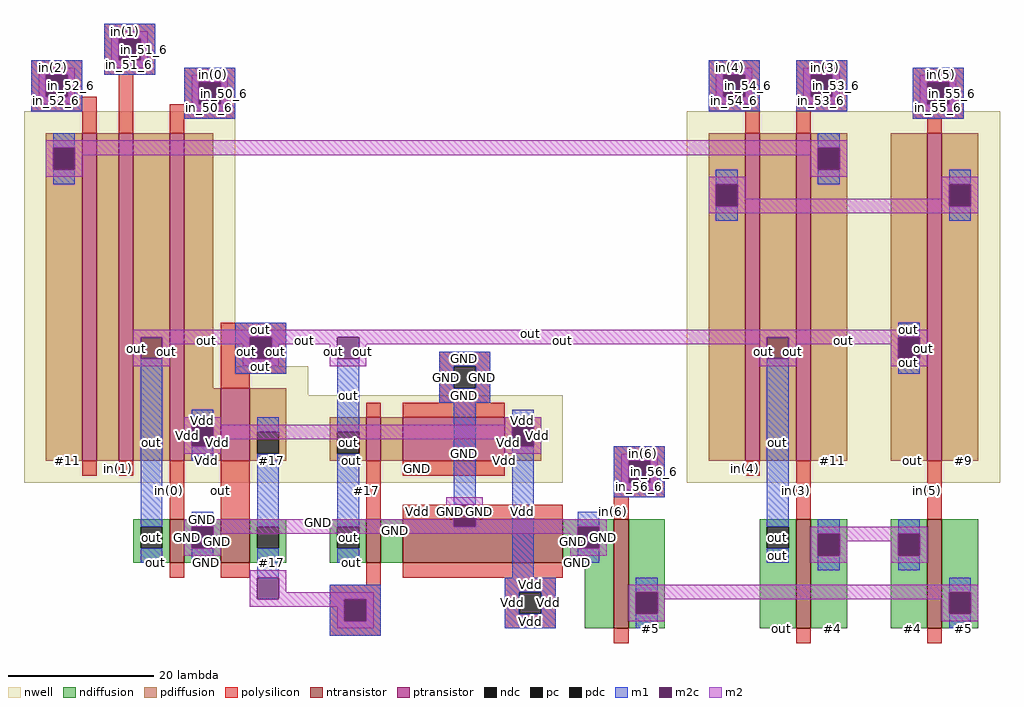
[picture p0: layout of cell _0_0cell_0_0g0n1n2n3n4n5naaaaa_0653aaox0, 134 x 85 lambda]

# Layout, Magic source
magic
tech sky130l
<< nwell >>
rect 5 41 34 76
rect 5 37 44 41
rect 5 25 79 37
rect 96 25 139 76
<< ndiffusion >>
rect 20 19 25 20
rect 20 16 21 19
rect 24 16 25 19
rect 20 14 25 16
rect 27 19 32 20
rect 27 16 28 19
rect 31 16 32 19
rect 27 14 32 16
rect 36 19 41 20
rect 36 16 37 19
rect 40 16 41 19
rect 36 14 41 16
rect 47 19 52 20
rect 47 16 48 19
rect 51 16 52 19
rect 47 14 52 16
rect 54 14 57 20
rect 79 19 86 20
rect 79 16 81 19
rect 84 16 86 19
rect 79 14 86 16
rect 82 5 86 14
rect 88 10 93 20
rect 88 7 89 10
rect 92 7 93 10
rect 88 5 93 7
rect 106 19 111 20
rect 106 16 107 19
rect 110 16 111 19
rect 106 5 111 16
rect 113 18 118 20
rect 113 15 114 18
rect 117 15 118 18
rect 113 5 118 15
rect 124 18 129 20
rect 124 15 125 18
rect 128 15 129 18
rect 124 5 129 15
rect 131 10 136 20
rect 131 7 132 10
rect 135 7 136 10
rect 131 5 136 7
<< ndc >>
rect 21 16 24 19
rect 28 16 31 19
rect 37 16 40 19
rect 48 16 51 19
rect 81 16 84 19
rect 89 7 92 10
rect 107 16 110 19
rect 114 15 117 18
rect 125 15 128 18
rect 132 7 135 10
<< ntransistor >>
rect 25 14 27 20
rect 32 14 36 20
rect 52 14 54 20
rect 57 14 79 20
rect 86 5 88 20
rect 111 5 113 20
rect 129 5 131 20
<< pdiffusion >>
rect 8 71 13 73
rect 8 68 9 71
rect 12 68 13 71
rect 8 28 13 68
rect 15 28 18 73
rect 20 28 25 73
rect 27 38 31 73
rect 99 66 104 73
rect 99 63 100 66
rect 103 63 104 66
rect 27 33 32 38
rect 27 30 28 33
rect 31 30 32 33
rect 27 28 32 30
rect 36 32 41 38
rect 36 29 37 32
rect 40 29 41 32
rect 36 28 41 29
rect 47 32 52 34
rect 47 29 48 32
rect 51 29 52 32
rect 47 28 52 29
rect 54 28 57 34
rect 71 33 76 34
rect 71 30 72 33
rect 75 30 76 33
rect 71 28 76 30
rect 99 28 104 63
rect 106 28 111 73
rect 113 71 118 73
rect 113 68 114 71
rect 117 68 118 71
rect 113 28 118 68
rect 124 45 129 73
rect 124 42 125 45
rect 128 42 129 45
rect 124 28 129 42
rect 131 66 136 73
rect 131 63 132 66
rect 135 63 136 66
rect 131 28 136 63
<< pdc >>
rect 9 68 12 71
rect 100 63 103 66
rect 28 30 31 33
rect 37 29 40 32
rect 48 29 51 32
rect 72 30 75 33
rect 114 68 117 71
rect 125 42 128 45
rect 132 63 135 66
<< ptransistor >>
rect 13 28 15 73
rect 18 28 20 73
rect 25 28 27 73
rect 32 28 36 38
rect 52 28 54 34
rect 57 28 71 34
rect 104 28 106 73
rect 111 28 113 73
rect 129 28 131 73
<< polysilicon >>
rect 16 86 23 88
rect 16 83 18 86
rect 21 83 23 86
rect 6 81 13 83
rect 16 81 23 83
rect 6 78 8 81
rect 11 78 13 81
rect 6 76 15 78
rect 13 73 15 76
rect 18 73 20 81
rect 27 80 34 82
rect 27 77 29 80
rect 32 77 34 80
rect 25 75 34 77
rect 99 81 106 83
rect 99 78 101 81
rect 104 78 106 81
rect 99 76 106 78
rect 25 73 27 75
rect 104 73 106 76
rect 111 81 118 83
rect 111 78 113 81
rect 116 78 118 81
rect 111 76 118 78
rect 127 80 134 82
rect 127 77 129 80
rect 132 77 134 80
rect 111 73 113 76
rect 127 75 134 77
rect 129 73 131 75
rect 32 45 41 47
rect 32 42 36 45
rect 39 42 41 45
rect 32 40 41 42
rect 62 41 69 43
rect 32 38 36 40
rect 62 38 64 41
rect 67 38 69 41
rect 62 36 69 38
rect 52 34 54 36
rect 57 34 71 36
rect 86 28 93 30
rect 13 26 15 28
rect 18 26 20 28
rect 25 20 27 28
rect 32 20 36 28
rect 52 20 54 28
rect 57 26 71 28
rect 86 25 88 28
rect 91 25 93 28
rect 104 26 106 28
rect 86 23 93 25
rect 57 20 79 22
rect 86 20 88 23
rect 111 20 113 28
rect 129 20 131 28
rect 25 12 27 14
rect 32 12 36 14
rect 52 11 54 14
rect 57 12 79 14
rect 47 9 54 11
rect 47 6 49 9
rect 52 6 54 9
rect 47 4 54 6
rect 71 10 78 12
rect 71 7 73 10
rect 76 7 78 10
rect 71 5 78 7
rect 86 3 88 5
rect 111 3 113 5
rect 129 3 131 5
<< pc >>
rect 18 83 21 86
rect 8 78 11 81
rect 29 77 32 80
rect 101 78 104 81
rect 113 78 116 81
rect 129 77 132 80
rect 36 42 39 45
rect 64 38 67 41
rect 88 25 91 28
rect 49 6 52 9
rect 73 7 76 10
<< m1 >>
rect 16 86 23 88
rect 16 83 18 86
rect 21 83 23 86
rect 6 81 13 83
rect 16 81 23 83
rect 6 78 8 81
rect 11 78 13 81
rect 6 76 13 78
rect 27 80 34 82
rect 27 77 29 80
rect 32 77 34 80
rect 27 75 34 77
rect 99 81 106 83
rect 99 78 101 81
rect 104 78 106 81
rect 99 76 106 78
rect 111 81 118 83
rect 111 78 113 81
rect 116 78 118 81
rect 111 76 118 78
rect 127 80 134 82
rect 127 77 129 80
rect 132 77 134 80
rect 127 75 134 77
rect 9 71 12 73
rect 114 71 117 73
rect 9 66 12 68
rect 100 66 103 68
rect 114 66 117 68
rect 132 66 135 68
rect 100 61 103 63
rect 132 61 135 63
rect 34 45 41 47
rect 125 45 128 47
rect 21 19 24 42
rect 34 42 36 45
rect 39 42 41 45
rect 34 40 41 42
rect 28 33 31 35
rect 28 28 31 30
rect 37 32 40 34
rect 21 14 24 16
rect 28 19 31 21
rect 28 14 31 16
rect 37 19 40 29
rect 37 12 40 16
rect 48 32 51 42
rect 62 41 69 43
rect 62 38 64 41
rect 67 38 69 41
rect 62 36 69 38
rect 48 19 51 29
rect 64 22 67 36
rect 72 33 75 35
rect 48 14 51 16
rect 72 12 75 30
rect 86 28 93 30
rect 86 25 88 28
rect 91 25 93 28
rect 86 23 93 25
rect 81 19 84 21
rect 81 14 84 16
rect 107 19 110 42
rect 125 40 128 42
rect 107 14 110 16
rect 114 18 117 20
rect 114 13 117 15
rect 125 18 128 20
rect 125 13 128 15
rect 47 9 54 11
rect 47 6 49 9
rect 52 6 54 9
rect 47 4 54 6
rect 71 10 78 12
rect 71 7 73 10
rect 76 7 78 10
rect 71 5 78 7
rect 89 10 92 12
rect 89 5 92 7
rect 132 10 135 12
rect 132 5 135 7
<< m2c >>
rect 18 83 21 86
rect 8 78 11 81
rect 29 77 32 80
rect 101 78 104 81
rect 113 78 116 81
rect 129 77 132 80
rect 9 68 12 71
rect 114 68 117 71
rect 100 63 103 66
rect 132 63 135 66
rect 21 42 24 45
rect 36 42 39 45
rect 48 42 51 45
rect 28 30 31 33
rect 28 16 31 19
rect 107 42 110 45
rect 64 19 67 22
rect 72 30 75 33
rect 88 25 91 28
rect 81 16 84 19
rect 125 42 128 45
rect 114 15 117 18
rect 125 15 128 18
rect 37 9 40 12
rect 49 6 52 9
rect 89 7 92 10
rect 132 7 135 10
<< m2 >>
rect 17 86 22 87
rect 17 83 18 86
rect 21 83 22 86
rect 17 82 22 83
rect 7 81 12 82
rect 100 81 105 82
rect 7 78 8 81
rect 11 78 12 81
rect 7 77 12 78
rect 28 80 33 81
rect 28 77 29 80
rect 32 77 33 80
rect 100 78 101 81
rect 104 78 105 81
rect 100 77 105 78
rect 112 81 117 82
rect 112 78 113 81
rect 116 78 117 81
rect 112 77 117 78
rect 128 80 133 81
rect 128 77 129 80
rect 132 77 133 80
rect 28 76 33 77
rect 128 76 133 77
rect 8 71 118 72
rect 8 68 9 71
rect 12 70 114 71
rect 12 68 13 70
rect 8 67 13 68
rect 113 68 114 70
rect 117 68 118 71
rect 113 67 118 68
rect 99 66 104 67
rect 99 63 100 66
rect 103 64 104 66
rect 131 66 136 67
rect 131 64 132 66
rect 103 63 132 64
rect 135 63 136 66
rect 99 62 136 63
rect 20 45 129 46
rect 20 42 21 45
rect 24 44 36 45
rect 24 42 25 44
rect 20 41 25 42
rect 35 42 36 44
rect 39 44 48 45
rect 39 42 40 44
rect 35 41 40 42
rect 47 42 48 44
rect 51 44 107 45
rect 51 42 52 44
rect 47 41 52 42
rect 106 42 107 44
rect 110 44 125 45
rect 110 42 111 44
rect 106 41 111 42
rect 124 42 125 44
rect 128 42 129 45
rect 124 41 129 42
rect 27 33 32 34
rect 71 33 76 34
rect 27 30 28 33
rect 31 31 72 33
rect 31 30 32 31
rect 27 29 32 30
rect 71 30 72 31
rect 75 30 76 33
rect 71 29 76 30
rect 87 28 92 29
rect 87 25 88 28
rect 91 25 92 28
rect 87 24 92 25
rect 63 22 68 23
rect 63 20 64 22
rect 27 19 64 20
rect 67 20 68 22
rect 67 19 85 20
rect 27 16 28 19
rect 31 18 81 19
rect 31 16 32 18
rect 27 15 32 16
rect 80 16 81 18
rect 84 16 85 19
rect 80 15 85 16
rect 113 18 129 19
rect 113 15 114 18
rect 117 17 125 18
rect 117 15 118 17
rect 113 14 118 15
rect 124 15 125 17
rect 128 15 129 18
rect 124 14 129 15
rect 36 12 41 13
rect 36 9 37 12
rect 40 10 41 12
rect 88 10 136 11
rect 40 9 53 10
rect 36 8 49 9
rect 48 6 49 8
rect 52 6 53 9
rect 88 7 89 10
rect 92 9 132 10
rect 92 7 93 9
rect 88 6 93 7
rect 131 7 132 9
rect 135 7 136 10
rect 131 6 136 7
rect 48 5 53 6
<< labels >>
rlabel pdiffusion 71 28 71 28 3 Vdd
flabel pdiffusion 11 28 11 28 1 FreeSerif 8 0 0 0 #11
flabel polysilicon 13 27 13 27 3 FreeSerif 8 0 0 0 in(2)
flabel polysilicon 18 27 18 27 3 FreeSerif 8 0 0 0 in(1)
flabel polysilicon 25 24 25 24 3 FreeSerif 8 0 0 0 in(0)
flabel polysilicon 32 24 32 24 3 FreeSerif 8 0 0 0 out
flabel pdiffusion 30 28 30 28 1 FreeSerif 8 0 0 0 Vdd
flabel pdiffusion 39 28 39 28 1 FreeSerif 8 0 0 0 #17
flabel polysilicon 52 24 52 24 3 FreeSerif 8 0 0 0 #17
flabel pdiffusion 50 28 50 28 1 FreeSerif 8 0 0 0 out
flabel polysilicon 59 27 59 27 3 FreeSerif 8 0 0 0 GND
flabel polysilicon 59 21 59 21 3 FreeSerif 8 0 0 0 Vdd
flabel pdiffusion 74 28 74 28 1 FreeSerif 8 0 0 0 Vdd
flabel polysilicon 86 21 86 21 3 FreeSerif 8 0 0 0 in(6)
flabel polysilicon 104 27 104 27 3 FreeSerif 8 0 0 0 in(4)
flabel pdiffusion 102 28 102 28 1 FreeSerif 8 0 0 0 #9
flabel pdiffusion 116 28 116 28 1 FreeSerif 8 0 0 0 #11
flabel polysilicon 111 24 111 24 3 FreeSerif 8 0 0 0 in(3)
flabel polysilicon 129 24 129 24 3 FreeSerif 8 0 0 0 in(5)
flabel pdiffusion 134 28 134 28 1 FreeSerif 8 0 0 0 #9
flabel pdiffusion 127 28 127 28 1 FreeSerif 8 0 0 0 out
flabel ndiffusion 127 5 127 5 1 FreeSerif 8 0 0 0 #4
flabel ndiffusion 116 5 116 5 1 FreeSerif 8 0 0 0 #4
flabel ndiffusion 109 5 109 5 1 FreeSerif 8 0 0 0 out
flabel ndiffusion 91 5 91 5 1 FreeSerif 8 0 0 0 #5
flabel ndiffusion 81 14 81 14 1 FreeSerif 8 0 0 0 GND
flabel ndiffusion 50 14 50 14 1 FreeSerif 8 0 0 0 out
flabel ndiffusion 23 14 23 14 1 FreeSerif 8 0 0 0 out
flabel ndiffusion 30 14 30 14 1 FreeSerif 8 0 0 0 GND
flabel ndiffusion 39 14 39 14 1 FreeSerif 8 0 0 0 #17
flabel ndiffusion 134 5 134 5 1 FreeSerif 8 0 0 0 #5
flabel m2 s 84 16 85 19 1 FreeSerif 8 0 0 0 GND
port 1 nsew ground input
flabel m2 s 75 30 76 33 1 FreeSerif 8 0 0 0 Vdd
port 2 nsew power input
flabel m2 90 29 90 29 1 FreeSerif 8 0 0 0 in(6)
port 3 n
flabel m2 131 81 131 81 1 FreeSerif 8 0 0 0 in(5)
port 4 n
flabel m2 102 82 102 82 1 FreeSerif 8 0 0 0 in(4)
port 5 n
flabel m2 115 82 115 82 1 FreeSerif 8 0 0 0 in(3)
port 6 n
flabel m2 9 82 9 82 1 FreeSerif 8 0 0 0 in(2)
port 7 n
flabel m2 19 87 19 87 1 FreeSerif 8 0 0 0 in(1)
port 8 n
flabel m2 s 128 42 129 45 1 FreeSerif 8 0 0 0 out
port 9 nsew signal output
flabel m2 31 81 31 81 1 FreeSerif 8 0 0 0 in(0)
port 10 n
rlabel m2 s 32 77 33 80 1 in_50_6
port 1 nsew signal input
rlabel m2 s 29 77 32 80 1 in_50_6
port 1 nsew signal input
rlabel m2 s 28 76 33 77 1 in_50_6
port 1 nsew signal input
rlabel m2 s 28 77 29 80 1 in_50_6
port 1 nsew signal input
rlabel m2 s 28 80 33 81 1 in_50_6
port 1 nsew signal input
rlabel m1 s 32 77 34 80 1 in_50_6
port 1 nsew signal input
rlabel m1 s 29 77 32 80 1 in_50_6
port 1 nsew signal input
rlabel m1 s 27 75 34 77 1 in_50_6
port 1 nsew signal input
rlabel m1 s 27 77 29 80 1 in_50_6
port 1 nsew signal input
rlabel m1 s 27 80 34 82 1 in_50_6
port 1 nsew signal input
rlabel m2 s 21 83 22 86 5 in_51_6
port 2 nsew signal input
rlabel m2 s 18 83 21 86 5 in_51_6
port 2 nsew signal input
rlabel m2 s 17 82 22 83 1 in_51_6
port 2 nsew signal input
rlabel m2 s 17 83 18 86 5 in_51_6
port 2 nsew signal input
rlabel m2 s 17 86 22 87 5 in_51_6
port 2 nsew signal input
rlabel m1 s 21 83 23 86 5 in_51_6
port 2 nsew signal input
rlabel m1 s 18 83 21 86 5 in_51_6
port 2 nsew signal input
rlabel m1 s 16 81 23 83 1 in_51_6
port 2 nsew signal input
rlabel m1 s 16 83 18 86 5 in_51_6
port 2 nsew signal input
rlabel m1 s 16 86 23 88 5 in_51_6
port 2 nsew signal input
rlabel m2 s 11 78 12 81 1 in_52_6
port 3 nsew signal input
rlabel m2 s 8 78 11 81 3 in_52_6
port 3 nsew signal input
rlabel m2 s 7 77 12 78 3 in_52_6
port 3 nsew signal input
rlabel m2 s 7 78 8 81 3 in_52_6
port 3 nsew signal input
rlabel m2 s 7 81 12 82 3 in_52_6
port 3 nsew signal input
rlabel m1 s 11 78 13 81 1 in_52_6
port 3 nsew signal input
rlabel m1 s 8 78 11 81 3 in_52_6
port 3 nsew signal input
rlabel m1 s 6 76 13 78 3 in_52_6
port 3 nsew signal input
rlabel m1 s 6 78 8 81 3 in_52_6
port 3 nsew signal input
rlabel m1 s 6 81 13 83 3 in_52_6
port 3 nsew signal input
rlabel m2 s 116 78 117 81 1 in_53_6
port 4 nsew signal input
rlabel m2 s 113 78 116 81 1 in_53_6
port 4 nsew signal input
rlabel m2 s 112 78 113 81 1 in_53_6
port 4 nsew signal input
rlabel m2 s 112 77 117 78 1 in_53_6
port 4 nsew signal input
rlabel m2 s 112 81 117 82 1 in_53_6
port 4 nsew signal input
rlabel m1 s 116 78 118 81 1 in_53_6
port 4 nsew signal input
rlabel m1 s 113 78 116 81 1 in_53_6
port 4 nsew signal input
rlabel m1 s 111 76 118 78 1 in_53_6
port 4 nsew signal input
rlabel m1 s 111 78 113 81 1 in_53_6
port 4 nsew signal input
rlabel m1 s 111 81 118 83 1 in_53_6
port 4 nsew signal input
rlabel m2 s 104 78 105 81 1 in_54_6
port 5 nsew signal input
rlabel m2 s 101 78 104 81 1 in_54_6
port 5 nsew signal input
rlabel m2 s 100 77 105 78 1 in_54_6
port 5 nsew signal input
rlabel m2 s 100 78 101 81 1 in_54_6
port 5 nsew signal input
rlabel m2 s 100 81 105 82 1 in_54_6
port 5 nsew signal input
rlabel m1 s 104 78 106 81 1 in_54_6
port 5 nsew signal input
rlabel m1 s 101 78 104 81 1 in_54_6
port 5 nsew signal input
rlabel m1 s 99 76 106 78 1 in_54_6
port 5 nsew signal input
rlabel m1 s 99 78 101 81 1 in_54_6
port 5 nsew signal input
rlabel m1 s 99 81 106 83 1 in_54_6
port 5 nsew signal input
rlabel m2 s 128 80 133 81 1 in_55_6
port 6 nsew signal input
rlabel m2 s 132 77 133 80 1 in_55_6
port 6 nsew signal input
rlabel m2 s 129 77 132 80 1 in_55_6
port 6 nsew signal input
rlabel m2 s 128 77 129 80 1 in_55_6
port 6 nsew signal input
rlabel m2 s 128 76 133 77 1 in_55_6
port 6 nsew signal input
rlabel m1 s 132 77 134 80 1 in_55_6
port 6 nsew signal input
rlabel m1 s 129 77 132 80 1 in_55_6
port 6 nsew signal input
rlabel m1 s 127 75 134 77 1 in_55_6
port 6 nsew signal input
rlabel m1 s 127 77 129 80 1 in_55_6
port 6 nsew signal input
rlabel m1 s 127 80 134 82 1 in_55_6
port 6 nsew signal input
rlabel m2 s 91 25 92 28 1 in_56_6
port 7 nsew signal input
rlabel m2 s 88 25 91 28 1 in_56_6
port 7 nsew signal input
rlabel m2 s 87 24 92 25 1 in_56_6
port 7 nsew signal input
rlabel m2 s 87 25 88 28 1 in_56_6
port 7 nsew signal input
rlabel m2 s 87 28 92 29 1 in_56_6
port 7 nsew signal input
rlabel m1 s 91 25 93 28 1 in_56_6
port 7 nsew signal input
rlabel m1 s 88 25 91 28 1 in_56_6
port 7 nsew signal input
rlabel m1 s 86 23 93 25 1 in_56_6
port 7 nsew signal input
rlabel m1 s 86 25 88 28 1 in_56_6
port 7 nsew signal input
rlabel m1 s 86 28 93 30 1 in_56_6
port 7 nsew signal input
rlabel m2 s 125 42 128 45 1 out
port 9 nsew signal output
rlabel m2 s 124 41 129 42 1 out
port 9 nsew signal output
rlabel m2 s 124 42 125 44 1 out
port 9 nsew signal output
rlabel m2 s 110 42 111 44 1 out
port 9 nsew signal output
rlabel m2 s 110 44 125 45 1 out
port 9 nsew signal output
rlabel m2 s 107 42 110 45 1 out
port 9 nsew signal output
rlabel m2 s 106 41 111 42 1 out
port 9 nsew signal output
rlabel m2 s 106 42 107 44 1 out
port 9 nsew signal output
rlabel m2 s 51 42 52 44 1 out
port 9 nsew signal output
rlabel m2 s 51 44 107 45 1 out
port 9 nsew signal output
rlabel m2 s 48 42 51 45 1 out
port 9 nsew signal output
rlabel m2 s 47 41 52 42 1 out
port 9 nsew signal output
rlabel m2 s 47 42 48 44 1 out
port 9 nsew signal output
rlabel m2 s 39 42 40 44 1 out
port 9 nsew signal output
rlabel m2 s 39 44 48 45 1 out
port 9 nsew signal output
rlabel m2 s 36 42 39 45 1 out
port 9 nsew signal output
rlabel m2 s 35 41 40 42 1 out
port 9 nsew signal output
rlabel m2 s 35 42 36 44 1 out
port 9 nsew signal output
rlabel m2 s 24 42 25 44 1 out
port 9 nsew signal output
rlabel m2 s 24 44 36 45 1 out
port 9 nsew signal output
rlabel m2 s 21 42 24 45 1 out
port 9 nsew signal output
rlabel m2 s 20 41 25 42 1 out
port 9 nsew signal output
rlabel m2 s 20 42 21 45 1 out
port 9 nsew signal output
rlabel m2 s 20 45 129 46 1 out
port 9 nsew signal output
rlabel m1 s 125 40 128 42 1 out
port 9 nsew signal output
rlabel m1 s 125 42 128 45 1 out
port 9 nsew signal output
rlabel m1 s 125 45 128 47 1 out
port 9 nsew signal output
rlabel m1 s 107 14 110 16 1 out
port 9 nsew signal output
rlabel m1 s 107 16 110 19 1 out
port 9 nsew signal output
rlabel m1 s 107 19 110 42 1 out
port 9 nsew signal output
rlabel m1 s 107 42 110 45 1 out
port 9 nsew signal output
rlabel m1 s 48 16 51 19 1 out
port 9 nsew signal output
rlabel m1 s 48 19 51 29 1 out
port 9 nsew signal output
rlabel m1 s 48 29 51 32 1 out
port 9 nsew signal output
rlabel m1 s 48 32 51 42 1 out
port 9 nsew signal output
rlabel m1 s 48 42 51 45 1 out
port 9 nsew signal output
rlabel m1 s 39 42 41 45 1 out
port 9 nsew signal output
rlabel m1 s 36 42 39 45 1 out
port 9 nsew signal output
rlabel m1 s 34 40 41 42 1 out
port 9 nsew signal output
rlabel m1 s 34 42 36 45 1 out
port 9 nsew signal output
rlabel m1 s 34 45 41 47 1 out
port 9 nsew signal output
rlabel m1 s 48 14 51 16 1 out
port 9 nsew signal output
rlabel m1 s 21 14 24 16 1 out
port 9 nsew signal output
rlabel m1 s 21 16 24 19 1 out
port 9 nsew signal output
rlabel m1 s 21 19 24 42 1 out
port 9 nsew signal output
rlabel m1 s 21 42 24 45 1 out
port 9 nsew signal output
rlabel m2 s 72 30 75 33 1 Vdd
port 2 nsew power input
rlabel m2 s 71 29 76 30 1 Vdd
port 2 nsew power input
rlabel m2 s 71 30 72 31 1 Vdd
port 2 nsew power input
rlabel m2 s 71 33 76 34 1 Vdd
port 2 nsew power input
rlabel m2 s 31 30 32 31 1 Vdd
port 2 nsew power input
rlabel m2 s 31 31 72 33 1 Vdd
port 2 nsew power input
rlabel m2 s 28 30 31 33 1 Vdd
port 2 nsew power input
rlabel m2 s 27 29 32 30 1 Vdd
port 2 nsew power input
rlabel m2 s 27 30 28 33 1 Vdd
port 2 nsew power input
rlabel m2 s 27 33 32 34 1 Vdd
port 2 nsew power input
rlabel m1 s 72 30 75 33 1 Vdd
port 2 nsew power input
rlabel m1 s 72 33 75 35 1 Vdd
port 2 nsew power input
rlabel m1 s 76 7 78 10 1 Vdd
port 2 nsew power input
rlabel m1 s 73 7 76 10 1 Vdd
port 2 nsew power input
rlabel m1 s 71 7 73 10 1 Vdd
port 2 nsew power input
rlabel m1 s 72 12 75 30 1 Vdd
port 2 nsew power input
rlabel m1 s 71 10 78 12 1 Vdd
port 2 nsew power input
rlabel m1 s 71 5 78 7 1 Vdd
port 2 nsew power input
rlabel m1 s 28 28 31 30 1 Vdd
port 2 nsew power input
rlabel m1 s 28 30 31 33 1 Vdd
port 2 nsew power input
rlabel m1 s 28 33 31 35 1 Vdd
port 2 nsew power input
rlabel m2 s 81 16 84 19 1 GND
port 1 nsew ground input
rlabel m2 s 80 15 85 16 1 GND
port 1 nsew ground input
rlabel m2 s 80 16 81 18 1 GND
port 1 nsew ground input
rlabel m2 s 63 20 64 22 1 GND
port 1 nsew ground input
rlabel m2 s 63 22 68 23 1 GND
port 1 nsew ground input
rlabel m2 s 31 16 32 18 1 GND
port 1 nsew ground input
rlabel m2 s 31 18 81 19 1 GND
port 1 nsew ground input
rlabel m2 s 67 19 85 20 1 GND
port 1 nsew ground input
rlabel m2 s 67 20 68 22 1 GND
port 1 nsew ground input
rlabel m2 s 28 16 31 19 1 GND
port 1 nsew ground input
rlabel m2 s 64 19 67 22 1 GND
port 1 nsew ground input
rlabel m2 s 27 15 32 16 1 GND
port 1 nsew ground input
rlabel m2 s 27 16 28 19 1 GND
port 1 nsew ground input
rlabel m2 s 27 19 64 20 1 GND
port 1 nsew ground input
rlabel m1 s 67 38 69 41 1 GND
port 1 nsew ground input
rlabel m1 s 64 19 67 22 1 GND
port 1 nsew ground input
rlabel m1 s 64 22 67 36 1 GND
port 1 nsew ground input
rlabel m1 s 64 38 67 41 1 GND
port 1 nsew ground input
rlabel m1 s 62 36 69 38 1 GND
port 1 nsew ground input
rlabel m1 s 62 38 64 41 1 GND
port 1 nsew ground input
rlabel m1 s 62 41 69 43 1 GND
port 1 nsew ground input
rlabel m1 s 81 16 84 19 1 GND
port 1 nsew ground input
rlabel m1 s 81 19 84 21 1 GND
port 1 nsew ground input
rlabel m1 s 81 14 84 16 1 GND
port 1 nsew ground input
rlabel m1 s 28 16 31 19 1 GND
port 1 nsew ground input
rlabel m1 s 28 19 31 21 1 GND
port 1 nsew ground input
rlabel m1 s 28 14 31 16 1 GND
port 1 nsew ground input
<< properties >>
string FIXED_BBOX 0 0 144 92
string LEFclass CORE
string LEFsite CoreSite
string LEFsymmetry X Y
<< end >>
